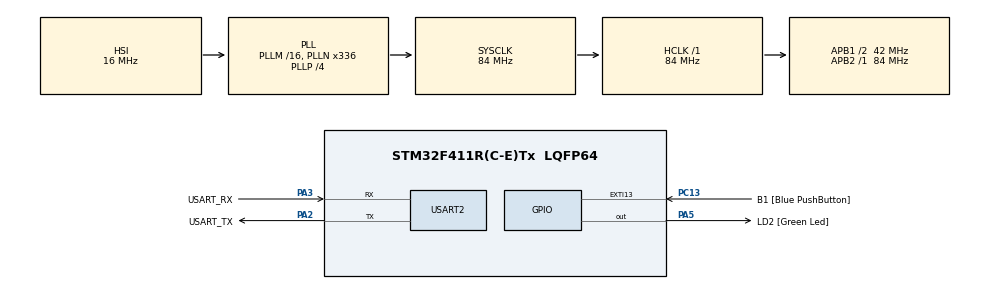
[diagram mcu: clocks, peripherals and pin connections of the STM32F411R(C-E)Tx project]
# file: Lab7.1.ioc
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Dma.MEMTOMEM.0.Direction=DMA_MEMORY_TO_MEMORY
Dma.MEMTOMEM.0.FIFOMode=DMA_FIFOMODE_ENABLE
Dma.MEMTOMEM.0.FIFOThreshold=DMA_FIFO_THRESHOLD_FULL
Dma.MEMTOMEM.0.Instance=DMA2_Stream0
Dma.MEMTOMEM.0.MemBurst=DMA_MBURST_SINGLE
Dma.MEMTOMEM.0.MemDataAlignment=DMA_MDATAALIGN_BYTE
Dma.MEMTOMEM.0.MemInc=DMA_MINC_ENABLE
Dma.MEMTOMEM.0.Mode=DMA_NORMAL
Dma.MEMTOMEM.0.PeriphBurst=DMA_PBURST_SINGLE
Dma.MEMTOMEM.0.PeriphDataAlignment=DMA_PDATAALIGN_BYTE
Dma.MEMTOMEM.0.PeriphInc=DMA_PINC_ENABLE
Dma.MEMTOMEM.0.Priority=DMA_PRIORITY_LOW
Dma.Request0=MEMTOMEM
Mcu.Family=STM32F4
Mcu.Name=STM32F411R(C-E)Tx
Mcu.Package=LQFP64
NVIC.PriorityGroup=NVIC_PRIORITYGROUP_0
PA13.GPIO_Label=TMS
PA13.Mode=Serial_Wire
PA13.Signal=SYS_JTMS-SWDIO
PA14.GPIO_Label=TCK
PA14.Mode=Serial_Wire
PA14.Signal=SYS_JTCK-SWCLK
PA2.GPIO_Label=USART_TX
PA2.Mode=Asynchronous
PA2.Signal=USART2_TX
PA3.GPIO_Label=USART_RX
PA3.Mode=Asynchronous
PA3.Signal=USART2_RX
PA5.GPIO_Label=LD2 [Green Led]
PA5.Signal=GPIO_Output
PB3.GPIO_Label=SWO
PB3.Signal=SYS_JTDO-SWO
PC13-ANTI_TAMP.GPIO_Label=B1 [Blue PushButton]
PC13-ANTI_TAMP.GPIO_ModeDefaultEXTI=GPIO_MODE_IT_FALLING
PC13-ANTI_TAMP.Signal=GPXTI13
PC14-OSC32_IN.Mode=LSE-External-Oscillator
PC14-OSC32_IN.Signal=RCC_OSC32_IN
PC15-OSC32_OUT.Mode=LSE-External-Oscillator
PC15-OSC32_OUT.Signal=RCC_OSC32_OUT
PH0\ -\ OSC_IN.Mode=HSE-External-Clock-Source
PH0\ -\ OSC_IN.Signal=RCC_OSC_IN
PH1\ -\ OSC_OUT.Mode=HSE-External-Clock-Source
PH1\ -\ OSC_OUT.Signal=RCC_OSC_OUT
ProjectManager.HeapSize=0x200
ProjectManager.StackSize=0x400
ProjectManager.TargetToolchain=STM32CubeIDE
RCC.48MHZClocksFreq_Value=84000000
RCC.AHBFreq_Value=84000000
RCC.APB1CLKDivider=RCC_HCLK_DIV2
RCC.APB1Freq_Value=42000000
RCC.APB1TimFreq_Value=84000000
RCC.APB2Freq_Value=84000000
RCC.APB2TimFreq_Value=84000000
RCC.CortexFreq_Value=84000000
RCC.FLatency-AdvancedSettings=FLASH_LATENCY_2
RCC.HCLKFreq_Value=84000000
RCC.HSE_VALUE=8000000
RCC.HSI_VALUE=16000000
RCC.PLLN=336
RCC.PLLP=RCC_PLLP_DIV4
RCC.SYSCLKFreq_VALUE=84000000
RCC.SYSCLKSource=RCC_SYSCLKSOURCE_PLLCLK
RCC.VCOOutputFreq_Value=336000000
USART2.VirtualMode=VM_ASYNC
board=NUCLEO-F411RE

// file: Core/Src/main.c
/* USER CODE BEGIN Header */
/**
  ******************************************************************************
  * @file           : main.c
  * @brief          : Main program body
  ******************************************************************************
  * @attention
  *
  * Copyright (c) 2024 STMicroelectronics.
  * All rights reserved.
  *
  * This software is licensed under terms that can be found in the LICENSE file
  * in the root directory of this software component.
  * If no LICENSE file comes with this software, it is provided AS-IS.
  *
  ******************************************************************************
  */
/* USER CODE END Header */
#include "main.h"

UART_HandleTypeDef huart2;

DMA_HandleTypeDef hdma_memtomem_dma2_stream0;

void SystemClock_Config(void);
static void MX_GPIO_Init(void);
static void MX_DMA_Init(void);
static void MX_USART2_UART_Init(void);

int main(void)
{
  /* USER CODE BEGIN 1 */
	uint8_t arr0[4];
	uint8_t arr1[4];
	for(int i=0;i<4;i++) {
		arr0[i] = ((i + 55) * 37) % 57;
		arr1[i] = 0;
	}

  /* USER CODE END 1 */

  /* MCU Configuration--------------------------------------------------------*/

  /* Reset of all peripherals, Initializes the Flash interface and the Systick. */
  HAL_Init();

  /* Configure the system clock */
  SystemClock_Config();

  /* Initialize all configured peripherals */
  MX_GPIO_Init();
  MX_DMA_Init();
  MX_USART2_UART_Init();
  /* USER CODE BEGIN 2 */
  void uartPrint(const char* msg) {
	  HAL_UART_Transmit(&huart2, msg, strlen(msg), 100);
  }
  void uartPrintln(const char* msg) {
      uartPrint(msg);
      uartPrint("\r\n");
  }
  /* USER CODE END 2 */

  /* Infinite loop */
  while (1)
  {

    /* USER CODE BEGIN 3 */
	  if(!HAL_GPIO_ReadPin(GPIOC, GPIO_PIN_13)) {
		  HAL_DMA_Start(&hdma_memtomem_dma2_stream0, arr0, arr1, 4);

		  HAL_GPIO_TogglePin(GPIOA, GPIO_PIN_5);
		  HAL_Delay(50);
		  while(!HAL_GPIO_ReadPin(GPIOC, GPIO_PIN_13)) {}
	  }
  }
  /* USER CODE END 3 */
}

void SystemClock_Config(void)
{
  RCC_OscInitTypeDef RCC_OscInitStruct = {0};
  RCC_ClkInitTypeDef RCC_ClkInitStruct = {0};

  /** Configure the main internal regulator output voltage
  */
  __HAL_RCC_PWR_CLK_ENABLE();
  __HAL_PWR_VOLTAGESCALING_CONFIG(PWR_REGULATOR_VOLTAGE_SCALE1);

  /** Initializes the RCC Oscillators according to the specified parameters
  * in the RCC_OscInitTypeDef structure.
  */
  RCC_OscInitStruct.OscillatorType = RCC_OSCILLATORTYPE_HSI;
  RCC_OscInitStruct.HSIState = RCC_HSI_ON;
  RCC_OscInitStruct.HSICalibrationValue = RCC_HSICALIBRATION_DEFAULT;
  RCC_OscInitStruct.PLL.PLLState = RCC_PLL_ON;
  RCC_OscInitStruct.PLL.PLLSource = RCC_PLLSOURCE_HSI;
  RCC_OscInitStruct.PLL.PLLM = 16;
  RCC_OscInitStruct.PLL.PLLN = 336;
  RCC_OscInitStruct.PLL.PLLP = RCC_PLLP_DIV4;
  RCC_OscInitStruct.PLL.PLLQ = 4;
  if (HAL_RCC_OscConfig(&RCC_OscInitStruct) != HAL_OK)
  {
    Error_Handler();
  }

  /** Initializes the CPU, AHB and APB buses clocks
  */
  RCC_ClkInitStruct.ClockType = RCC_CLOCKTYPE_HCLK|RCC_CLOCKTYPE_SYSCLK
                              |RCC_CLOCKTYPE_PCLK1|RCC_CLOCKTYPE_PCLK2;
  RCC_ClkInitStruct.SYSCLKSource = RCC_SYSCLKSOURCE_PLLCLK;
  RCC_ClkInitStruct.AHBCLKDivider = RCC_SYSCLK_DIV1;
  RCC_ClkInitStruct.APB1CLKDivider = RCC_HCLK_DIV2;
  RCC_ClkInitStruct.APB2CLKDivider = RCC_HCLK_DIV1;

  if (HAL_RCC_ClockConfig(&RCC_ClkInitStruct, FLASH_LATENCY_2) != HAL_OK)
  {
    Error_Handler();
  }
}

static void MX_USART2_UART_Init(void)
{

  huart2.Instance = USART2;
  huart2.Init.BaudRate = 115200;
  huart2.Init.WordLength = UART_WORDLENGTH_8B;
  huart2.Init.StopBits = UART_STOPBITS_1;
  huart2.Init.Parity = UART_PARITY_NONE;
  huart2.Init.Mode = UART_MODE_TX_RX;
  huart2.Init.HwFlowCtl = UART_HWCONTROL_NONE;
  huart2.Init.OverSampling = UART_OVERSAMPLING_16;
  if (HAL_UART_Init(&huart2) != HAL_OK)
  {
    Error_Handler();
  }

}

static void MX_DMA_Init(void)
{

  /* DMA controller clock enable */
  __HAL_RCC_DMA2_CLK_ENABLE();

  /* Configure DMA request hdma_memtomem_dma2_stream0 on DMA2_Stream0 */
  hdma_memtomem_dma2_stream0.Instance = DMA2_Stream0;
  hdma_memtomem_dma2_stream0.Init.Channel = DMA_CHANNEL_0;
  hdma_memtomem_dma2_stream0.Init.Direction = DMA_MEMORY_TO_MEMORY;
  hdma_memtomem_dma2_stream0.Init.PeriphInc = DMA_PINC_ENABLE;
  hdma_memtomem_dma2_stream0.Init.MemInc = DMA_MINC_ENABLE;
  hdma_memtomem_dma2_stream0.Init.PeriphDataAlignment = DMA_PDATAALIGN_BYTE;
  hdma_memtomem_dma2_stream0.Init.MemDataAlignment = DMA_MDATAALIGN_BYTE;
  hdma_memtomem_dma2_stream0.Init.Mode = DMA_NORMAL;
  hdma_memtomem_dma2_stream0.Init.Priority = DMA_PRIORITY_LOW;
  hdma_memtomem_dma2_stream0.Init.FIFOMode = DMA_FIFOMODE_ENABLE;
  hdma_memtomem_dma2_stream0.Init.FIFOThreshold = DMA_FIFO_THRESHOLD_FULL;
  hdma_memtomem_dma2_stream0.Init.MemBurst = DMA_MBURST_SINGLE;
  hdma_memtomem_dma2_stream0.Init.PeriphBurst = DMA_PBURST_SINGLE;
  if (HAL_DMA_Init(&hdma_memtomem_dma2_stream0) != HAL_OK)
  {
    Error_Handler( );
  }

}

static void MX_GPIO_Init(void)
{
  GPIO_InitTypeDef GPIO_InitStruct = {0};

  /* GPIO Ports Clock Enable */
  __HAL_RCC_GPIOC_CLK_ENABLE();
  __HAL_RCC_GPIOH_CLK_ENABLE();
  __HAL_RCC_GPIOA_CLK_ENABLE();
  __HAL_RCC_GPIOB_CLK_ENABLE();

  /*Configure GPIO pin Output Level */
  HAL_GPIO_WritePin(LD2_GPIO_Port, LD2_Pin, GPIO_PIN_RESET);

  /*Configure GPIO pin : B1_Pin */
  GPIO_InitStruct.Pin = B1_Pin;
  GPIO_InitStruct.Mode = GPIO_MODE_IT_FALLING;
  GPIO_InitStruct.Pull = GPIO_NOPULL;
  HAL_GPIO_Init(B1_GPIO_Port, &GPIO_InitStruct);

  /*Configure GPIO pin : LD2_Pin */
  GPIO_InitStruct.Pin = LD2_Pin;
  GPIO_InitStruct.Mode = GPIO_MODE_OUTPUT_PP;
  GPIO_InitStruct.Pull = GPIO_NOPULL;
  GPIO_InitStruct.Speed = GPIO_SPEED_FREQ_LOW;
  HAL_GPIO_Init(LD2_GPIO_Port, &GPIO_InitStruct);

}

void Error_Handler(void)
{
  __disable_irq();
  while (1)
  {
  }
}
